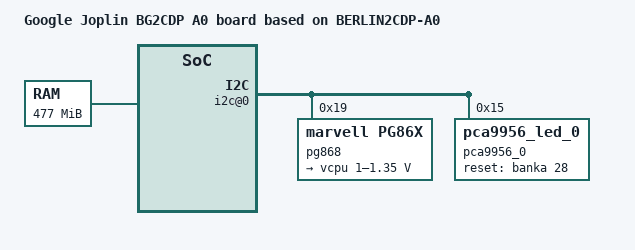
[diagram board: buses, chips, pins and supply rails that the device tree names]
/*
 * Google Joplin BG2CDP A0 board device tree source
 *
 * Copyright (c) 2017 Marvell International Ltd.
 *		http://www.marvell.com
 *
 * This program is free software; you can redistribute it and/or modify
 * it under the terms of the GNU General Public License version 2 as
 * published by the Free Software Foundation.
*/

/dts-v1/;
/include/ "berlin2cdp-a0.dtsi"

/ {
	model = "Google Joplin BG2CDP A0 board based on BERLIN2CDP-A0";
	compatible = "marvell,berlin2cdp-joplin", "marvell,berlin2cdp", "marvell,berlin";

	cpus {
		cpu@0 {
			cpu0-supply = <&vcpu>;
		};
	};

	memory {
		name = "memory";
		device_type = "memory";
		reg = <0x01100000 0x1DD00000>;
	};

	soc {
		shm@29000000 {
			compatible = "mrvl,berlin-shm";
			reg = <0x1EE00000 0x01000000>, <0x1FE00000 0x00100000>;
		};

		i2c@0 {
			pg868 {
				#address-cells = <1>;
				#size-cells = <0>;
				compatible = "marvell,pg86x";
				reg = <0x19>;
				vcpu:BK1_TV@0 {
					regulator-name = "vcpu";
					regulator-min-microvolt = <1000000>;
					regulator-max-microvolt = <1350000>;
					regulator-always-on;
					regulator-boot-on;
				};
			};
			pca9956_0 {
				compatible = "pca9956_led_0";
				reg = <0x15>;
				num_leds = <21>;
				reset_gpio = <&banka 28 0>;
			};
//			capacitive touch space holder
//			cy8cmbr3108 {
//				compatible = "cy8cmbr3108";
//				reg = <0x37>;
//				reset_gpio = <&banka 28 0>;
//			};
//			ambient light sensor space holder
//			opt3002 {
//				compatible = "opt3002";
//				reg = <0x44>;
//				reset_gpio = <&banka 28 0>;
//			};
//			audio amplifier space holder
//			max98373 {
//				compatible = "max98373";
//				reg = <0x64>;
//				reset_gpio = <&banka 28 0>;
//			};
		};
		tsen@F7FCD000 {
			pwr-gpio = <&banka 5 0>;
		};
	};
};
